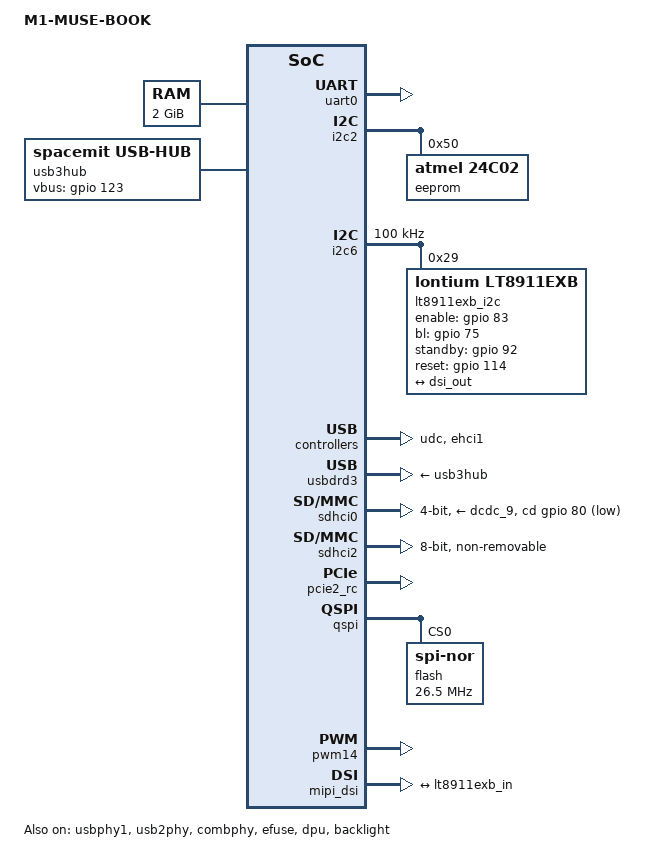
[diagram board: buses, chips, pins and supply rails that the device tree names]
// SPDX-License-Identifier: (GPL-2.0 OR MIT)
/* Copyright (c) 2023 Spacemit, Inc */

/dts-v1/;

#include "k1-x.dtsi"
#include "k1-x_pinctrl.dtsi"
#include "k1-x_spm8821.dtsi"

/ {
	model = "M1-MUSE-BOOK";

	aliases {
		efuse_power = &ldo_31;
	};

	memory@0 {
		device_type = "memory";
		reg = <0x00000000 0x00000000 0x00000000 0x80000000>;
	};

	chosen {
		bootargs = "earlycon=sbi console=ttyS0,115200 debug loglevel=8,initcall_debug=1 rdinit=/init.tmp";
		stdout-path = "serial0:115200n8";
	};

	usb3hub: usb3hub {
		compatible = "spacemit,usb-hub";
		vbus-gpios = <&gpio 123 0>;
		status = "okay";
	};

};

&cpus {
	timebase-frequency = <24000000>;
};

&ccu {
	pll2-freq = <2800000000>;
};

&uart0 {
	status = "okay";
};

&i2c2 {
	#address-cells = <1>;
	#size-cells = <0>;
	pinctrl-names = "default";
	pinctrl-0 = <&pinctrl_i2c2_0>;
	status = "okay";

	eeprom@50{
		compatible = "atmel,24c02";
		reg = <0x50>;
		vin-supply-names = "eeprom_1v8";
		status = "okay";
	};
};

&i2c6 {
	pinctrl-names = "default";
	pinctrl-0 = <&pinctrl_i2c6_2>;
	clock-frequency = <100000>;
	status = "okay";

	lt8911exb_i2c@29 {
		compatible = "lontium,lt8911exb";
		reg = <0x29>;
		status = "okay";

		enable-gpios = <&gpio 83 0>;
		bl-gpios = <&gpio 75 0>;
		standby-gpios = <&gpio 92 0>;
		reset-gpios = <&gpio 114 0>;

		port {
			lt8911exb_in: endpoint {
				remote-endpoint = <&dsi_out>;
			};
		};
	};
};

&pinctrl {
	pinctrl-single,gpio-range = <
		&range GPIO_49  2 (MUX_MODE0 | EDGE_NONE | PULL_UP   | PAD_3V_DS4)
		&range GPIO_58  1 (MUX_MODE0 | EDGE_NONE | PULL_DOWN | PAD_1V8_DS2)
		&range GPIO_63  2 (MUX_MODE0 | EDGE_NONE | PULL_DOWN | PAD_1V8_DS2)
		&range GPIO_65  1 (MUX_MODE0 | EDGE_NONE | PULL_UP   | PAD_1V8_DS2)
		&range GPIO_66  2 (MUX_MODE0 | EDGE_NONE | PULL_DOWN | PAD_1V8_DS2)
		&range PRI_TDI  2 (MUX_MODE1 | EDGE_NONE | PULL_UP   | PAD_1V8_DS2)
		&range PRI_TCK  1 (MUX_MODE1 | EDGE_NONE | PULL_DOWN | PAD_1V8_DS2)
		&range PRI_TDO  1 (MUX_MODE1 | EDGE_NONE | PULL_UP   | PAD_1V8_DS2)
		&range GPIO_74  1 (MUX_MODE0 | EDGE_NONE | PULL_UP   | PAD_1V8_DS2)
		&range GPIO_80  1 (MUX_MODE0 | EDGE_NONE | PULL_UP   | PAD_3V_DS4)
		&range GPIO_81  3 (MUX_MODE0 | EDGE_NONE | PULL_UP   | PAD_1V8_DS2)
		&range GPIO_90  1 (MUX_MODE0 | EDGE_NONE | PULL_DOWN | PAD_1V8_DS2)
		&range GPIO_91  2 (MUX_MODE0 | EDGE_NONE | PULL_UP   | PAD_1V8_DS2)
		&range DVL0     2 (MUX_MODE1 | EDGE_NONE | PULL_DOWN | PAD_1V8_DS2)
		&range GPIO_110 1 (MUX_MODE0 | EDGE_NONE | PULL_DOWN | PAD_1V8_DS2)
		&range GPIO_114 1 (MUX_MODE0 | EDGE_NONE | PULL_DOWN | PAD_1V8_DS2)
		&range GPIO_115 2 (MUX_MODE0 | EDGE_NONE | PULL_DOWN | PAD_1V8_DS2)
		&range GPIO_123 1 (MUX_MODE0 | EDGE_NONE | PULL_DOWN | PAD_1V8_DS2)
		&range GPIO_124 1 (MUX_MODE0 | EDGE_NONE | PULL_UP   | PAD_1V8_DS2)
		&range GPIO_125 3 (MUX_MODE0 | EDGE_NONE | PULL_DOWN | PAD_1V8_DS2)
	>;
};

&gpio{
	gpio-ranges = <
		&pinctrl 49 GPIO_49 2
		&pinctrl 58 GPIO_58 1
		&pinctrl 63 GPIO_63 5
		&pinctrl 70 PRI_TDI 4
		&pinctrl 74 GPIO_74 1
		&pinctrl 80 GPIO_80 4
		&pinctrl 90 GPIO_90 3
		&pinctrl 96 DVL0 2
		&pinctrl 110 GPIO_110 1
		&pinctrl 114 GPIO_114 3
		&pinctrl 123 GPIO_123 5
	>;
};

&udc {
	status = "okay";
};

&usbphy1 {
	status = "okay";
};

&ehci1 {
	roothub-power-on-debounce-ms = <0>;
	status = "okay";
};

&usb2phy {
	status = "okay";
};

&combphy {
	status = "okay";
};

&usbdrd3 {
	status = "okay";
	vbus-supply = <&usb3hub>;
	dwc3@c0a00000 {
		dr_mode = "host";
		phy_type = "utmi";
		snps,dis_enblslpm_quirk;
		snps,dis_u2_susphy_quirk;
		snps,dis_u3_susphy_quirk;
		snps,dis-del-phy-power-chg-quirk;
		snps,dis-tx-ipgap-linecheck-quirk;
		roothub-power-on-debounce-ms = <100>;
	};
};

&sdhci0 {
	pinctrl-names = "default","fast";
	pinctrl-0 = <&pinctrl_mmc1>;
	pinctrl-1 = <&pinctrl_mmc1_fast>;
	bus-width = <4>;
	cd-gpios = <&gpio 80 0>;
	cd-inverted;
	vmmc-supply = <&dcdc_9>;
	vqmmc-supply = <&ldo_23>;
	spacemit,aib_mmc1_io_reg = <0xD401E81C>;
	spacemit,apbc_asfar_reg = <0xD4015050>;
	spacemit,apbc_assar_reg = <0xD4015054>;
	spacemit,rx_dline_reg = <0x0>;
	spacemit,tx_dline_reg = <0x0>;
	spacemit,tx_delaycode = <0x7f>;
	spacemit,rx_tuning_limit = <50>;
	sdh-phy-module = <0>;
	clk-src-freq = <204800000>;
	status = "okay";
};

/* eMMC */
&sdhci2 {
	bus-width = <8>;
	non-removable;
	mmc-hs400-1_8v;
	mmc-hs400-enhanced-strobe;
	sdh-phy-module = <1>;
	clk-src-freq = <375000000>;
	status = "okay";
};

&pcie2_rc {
	pinctrl-names = "default";
	pinctrl-0 = <&pinctrl_pcie2_4>;
	status = "okay";
};

&qspi {
	status = "okay";
	pinctrl-names = "default";
	pinctrl-0 = <&pinctrl_qspi>;

	flash@0 {
		compatible = "jedec,spi-nor";
		reg = <0>;
		spi-max-frequency = <26500000>;
		m25p,fast-read;
		broken-flash-reset;
		status = "okay";
	};
};

&efuse {
	status = "okay";
};

&dpu {
	status = "okay";
};

&hdmi {
	pinctrl-names = "default";
	pinctrl-0 = <&pinctrl_hdmi_0>;
	status = "disabled";
};

&ldo_27 {
	regulator-init-microvolt = <1200000>;
	regulator-boot-on;
	regulator-state-mem {
			regulator-off-in-suspend;
	};
};

&pwm14 {
	pinctrl-names = "default";
	pinctrl-0 = <&pinctrl_pwm14_1>;
	status = "okay";
};

&backlight {
	pwms = <&pwm14 0 2000>;
	default-brightness-level = <7>;
	status = "okay";
};

&mipi_dsi {
	bit-clk = <933000000>;
	pix-clk = <142000000>;
	status = "okay";

	ports {
		mipi_in: port {
			#address-cells = <1>;
			#size-cells = <0>;
			dsi_out: endpoint@1 {
				reg = <1>;
				remote-endpoint = <&lt8911exb_in>;
			};
		};
	};
};

&panel {
	force-attached = "lt8911ext_edp_1080p";
	backlight = <&backlight>;
	status = "okay";
};

